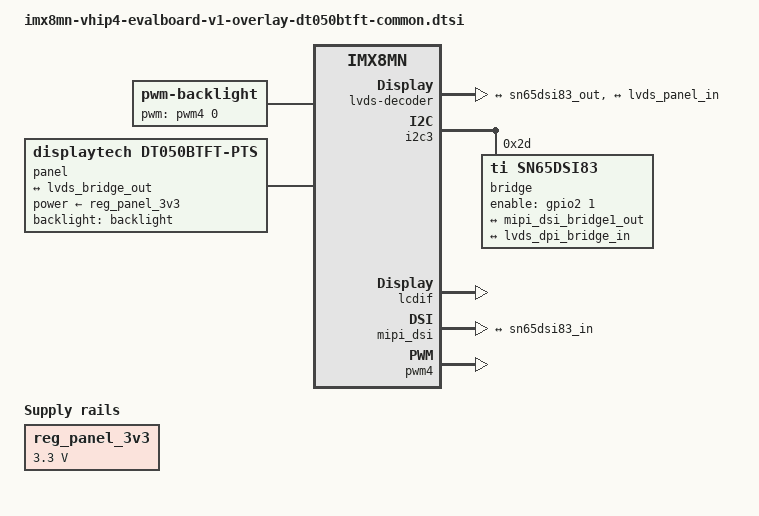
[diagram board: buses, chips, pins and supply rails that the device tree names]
// SPDX-License-Identifier: (GPL-2.0+ OR MIT)
/*
 * Copyright (C) 2021-2026 Marek Vasut
 */

#include <dt-bindings/gpio/gpio.h>

#include "imx8mn-pinfunc.h"

&{/} {
	backlight: backlight {
		compatible = "pwm-backlight";
		/* FIXME: 200 Hz, since DT050BTFT-PTS datasheet does not say */
		pwms = <&pwm4 0 5000000 0>;
		brightness-levels = <0 100>;
		num-interpolated-steps = <100>;
		default-brightness-level = <75>;
	};

	lvds-decoder {
		compatible = "ti,sn65lvds822", "lvds-decoder";
		powerdown-gpios = <&gpio5 19 GPIO_ACTIVE_LOW>;
		pinctrl-names = "default";
		pinctrl-0 = <&pinctrl_lvds_bridge>;

		ports {
			#address-cells = <1>;
			#size-cells = <0>;

			port@0 {
				reg = <0>;

				lvds_dpi_bridge_in: endpoint {
					data-mapping = "vesa-24";
					remote-endpoint = <&sn65dsi83_out>;
				};
			};

			port@1 {
				reg = <1>;

				lvds_bridge_out: endpoint {
					remote-endpoint = <&lvds_panel_in>;
				};
			};
		};
	};

	panel {
		compatible = "displaytech,dt050btft-pts";
		backlight = <&backlight>;
		power-supply = <&reg_panel_3v3>;

		port {
			lvds_panel_in: endpoint {
				remote-endpoint = <&lvds_bridge_out>;
			};
		};
	};

	reg_panel_3v3: regulator-panel-3v3 {
		compatible = "regulator-fixed";
		regulator-always-on;
		regulator-min-microvolt = <3300000>;
		regulator-max-microvolt = <3300000>;
		regulator-name = "VCC_DISPL";
	};
};

&i2c3 {
	#address-cells = <1>;
	#size-cells = <0>;
	status = "okay";

	bridge@2d {
		compatible = "ti,sn65dsi83";
		enable-gpios = <&gpio2 1 GPIO_ACTIVE_HIGH>;
		pinctrl-names = "default";
		pinctrl-0 = <&pinctrl_dsi_bridge>;
		reg = <0x2d>;

		ports {
			#address-cells = <1>;
			#size-cells = <0>;

			port@0 {
				reg = <0>;
				sn65dsi83_in: endpoint {
					data-lanes = <1>;
					remote-endpoint = <&mipi_dsi_bridge1_out>;
				};
			};

			port@2 {
				reg = <2>;
				sn65dsi83_out: endpoint {
					remote-endpoint = <&lvds_dpi_bridge_in>;
				};
			};
		};
	};
};

&iomuxc {
	pinctrl_dsi_bridge: dsibridge-grp {
		fsl,pins = <
			/* nRESET_BRIDGE */
			MX8MN_IOMUXC_SD1_CMD_GPIO2_IO1                  0x100
		>;
	};

	pinctrl_lvds_bridge: lvdsbridge-grp {
		fsl,pins = <
			/* LVDS_RGB_SHTDN_n */
			MX8MN_IOMUXC_I2C3_SDA_GPIO5_IO19                0x100
		>;
	};

	pinctrl_pwm4: pwm4-grp {
		fsl,pins = <
			/* LCD PWM */
			MX8MN_IOMUXC_I2C3_SCL_PWM4_OUT			0x0116
		>;
	};
};

&lcdif {
	status = "okay";
};

&mipi_dsi {
	samsung,burst-clock-frequency = <891000000>;
	samsung,esc-clock-frequency = <10000000>;
	status = "okay";

	ports {
		#address-cells = <1>;
		#size-cells = <0>;

		port@1 {
			reg = <1>;

			mipi_dsi_bridge1_out: endpoint {
				data-lanes = <1>;
				remote-endpoint = <&sn65dsi83_in>;
			};
		};
	};
};

&pwm4 {	/* LCD backlight PWM */
	pinctrl-names = "default";
	pinctrl-0 = <&pinctrl_pwm4>;
	status = "okay";
};
